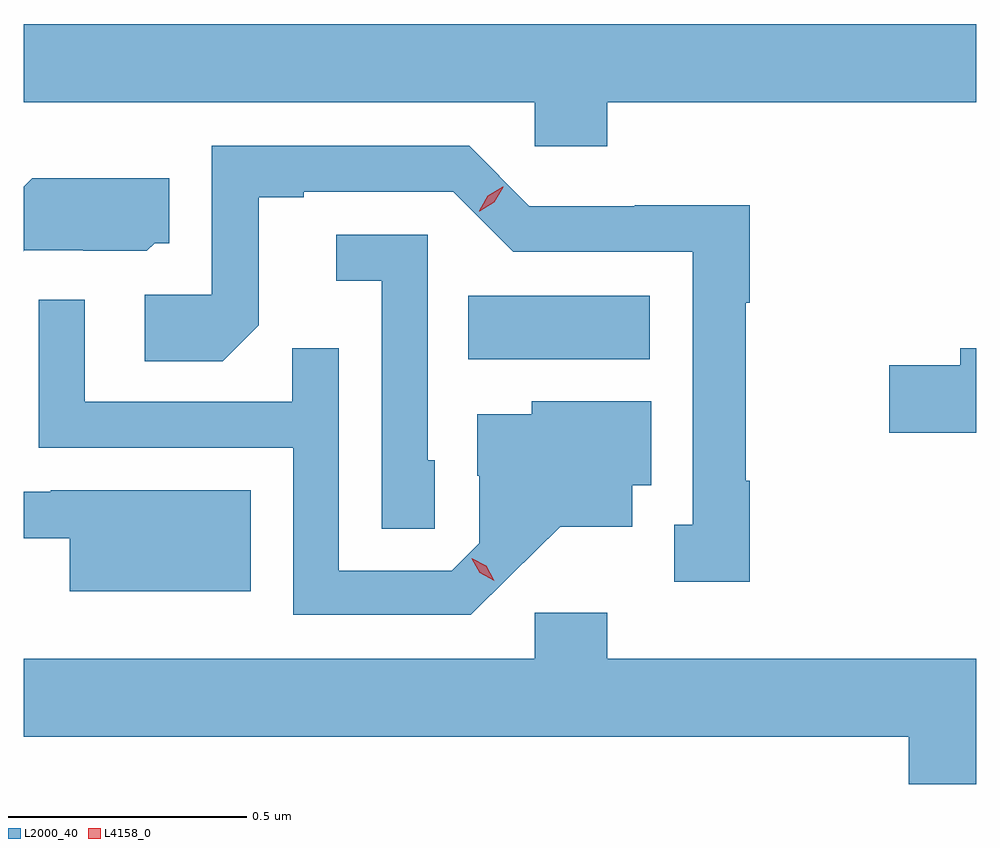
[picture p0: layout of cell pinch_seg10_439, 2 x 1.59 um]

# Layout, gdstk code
import gdstk
lib = gdstk.Library(unit=1e-6, precision=1e-09)
def R(c, l, rs):  # rectangles x0, y0, x1, y1
    for r in rs: c.add(gdstk.rectangle(r[:2], r[2:], *l))
def P(c, l, *ps):  # polygons
    for p in ps: c.add(gdstk.Polygon(p, *l))
L2000_40 = (2000, 40)
L4158_0 = (4158, 0)

pinch_seg10_439 = lib.new_cell('pinch_seg10_439')
R(pinch_seg10_439, L2000_40, [(373.132,1290.452,373.513,1290.586)])
P(pinch_seg10_439, L2000_40, [(373.424,1290.992),(374.199,1290.992),(374.199,1291.156),(372.199,1291.156),(372.199,1290.992),(373.272,1290.992),(373.272,1290.899),(373.424,1290.899)],
  [(373.723,1290.197),(373.715,1290.197),(373.715,1290.571),(373.723,1290.571),(373.723,1290.776),(373.482,1290.776),(373.482,1290.774),(373.26,1290.774),(373.134,1290.9),(372.594,1290.9),(372.594,1290.588),(372.453,1290.588),(372.453,1290.448),(372.617,1290.448),(372.693,1290.524),(372.693,1290.792),(372.787,1290.792),(372.787,1290.804),(373.101,1290.804),(373.227,1290.678),(373.604,1290.678),(373.604,1290.105),(373.565,1290.105),(373.565,1289.985),(373.723,1289.985)],
  [(372.201,1290.681),(372.324,1290.681),(372.324,1290.68),(372.458,1290.68),(372.474,1290.696),(372.505,1290.696),(372.505,1290.832),(372.217,1290.832),(372.199,1290.814),(372.199,1290.679)],
  [(373.062,1290.24),(373.047,1290.24),(373.047,1290.714),(372.855,1290.714),(372.855,1290.617),(372.951,1290.617),(372.951,1290.097),(373.062,1290.097)],
  [(373.222,1289.999),(373.325,1290.101),(373.477,1290.101),(373.477,1290.188),(373.516,1290.188),(373.516,1290.364),(373.266,1290.364),(373.266,1290.337),(373.151,1290.337),(373.151,1290.208),(373.155,1290.208),(373.155,1290.066),(373.098,1290.009),(372.861,1290.009),(372.861,1290.476),(372.763,1290.476),(372.763,1290.363),(372.327,1290.363),(372.327,1290.577),(372.231,1290.577),(372.231,1290.267),(372.765,1290.267),(372.765,1289.916),(373.138,1289.916)],
  [(374.199,1290.476),(374.165,1290.476),(374.165,1290.44),(374.016,1290.44),(374.016,1290.298),(374.199,1290.298)],
  [(372.676,1290.178),(372.256,1290.178),(372.256,1290.174),(372.199,1290.174),(372.199,1290.077),(372.296,1290.077),(372.296,1289.966),(372.676,1289.966)],
  [(374.199,1289.824),(373.424,1289.824),(373.424,1289.92),(373.272,1289.92),(373.272,1289.824),(372.199,1289.824),(372.199,1289.66),(374.057,1289.66),(374.057,1289.561),(374.199,1289.561)])
P(pinch_seg10_439, L4158_0, [(373.155,1290.763),(373.155,1290.764),(373.173,1290.796),(373.205,1290.814),(373.206,1290.814),(373.206,1290.813),(373.187,1290.782),(373.156,1290.763)],
  [(373.187,1289.988),(373.156,1290.004),(373.14,1290.034),(373.14,1290.035),(373.14,1290.035),(373.17,1290.019),(373.187,1289.988),(373.187,1289.988)])

lib.write_gds('pinch_seg10_439.gds')
